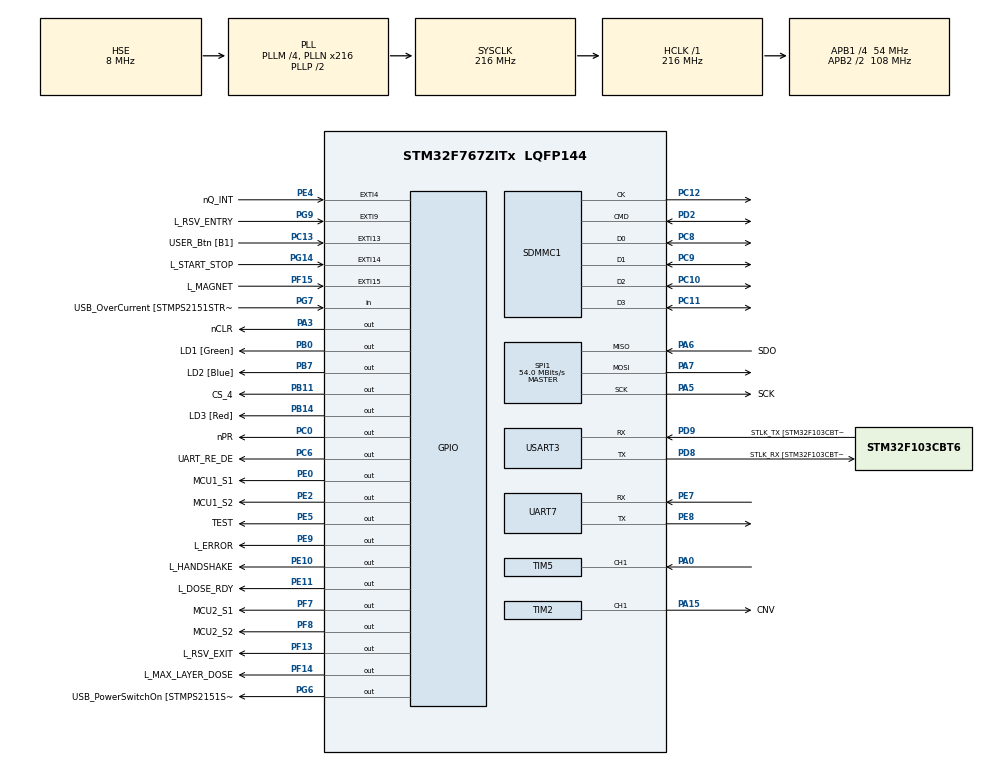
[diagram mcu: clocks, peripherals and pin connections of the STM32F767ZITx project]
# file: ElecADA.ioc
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Dma.Request0=UART7_TX
Dma.Request1=SDMMC1
Dma.SDMMC1.1.Direction=DMA_PERIPH_TO_MEMORY
Dma.SDMMC1.1.FIFOMode=DMA_FIFOMODE_ENABLE
Dma.SDMMC1.1.FIFOThreshold=DMA_FIFO_THRESHOLD_FULL
Dma.SDMMC1.1.Instance=DMA2_Stream3
Dma.SDMMC1.1.MemBurst=DMA_MBURST_INC4
Dma.SDMMC1.1.MemDataAlignment=DMA_MDATAALIGN_WORD
Dma.SDMMC1.1.MemInc=DMA_MINC_ENABLE
Dma.SDMMC1.1.Mode=DMA_PFCTRL
Dma.SDMMC1.1.PeriphBurst=DMA_PBURST_INC4
Dma.SDMMC1.1.PeriphDataAlignment=DMA_PDATAALIGN_WORD
Dma.SDMMC1.1.PeriphInc=DMA_PINC_DISABLE
Dma.SDMMC1.1.Priority=DMA_PRIORITY_LOW
Dma.UART7_TX.0.Direction=DMA_MEMORY_TO_PERIPH
Dma.UART7_TX.0.FIFOMode=DMA_FIFOMODE_DISABLE
Dma.UART7_TX.0.Instance=DMA1_Stream1
Dma.UART7_TX.0.MemDataAlignment=DMA_MDATAALIGN_BYTE
Dma.UART7_TX.0.MemInc=DMA_MINC_ENABLE
Dma.UART7_TX.0.Mode=DMA_NORMAL
Dma.UART7_TX.0.PeriphDataAlignment=DMA_PDATAALIGN_BYTE
Dma.UART7_TX.0.PeriphInc=DMA_PINC_DISABLE
Dma.UART7_TX.0.Priority=DMA_PRIORITY_LOW
FATFS.USE_DMA_CODE_SD=1
FATFS._MAX_SS=512
FATFS._USE_LFN=1
Mcu.Family=STM32F7
Mcu.Name=STM32F767ZITx
Mcu.Package=LQFP144
NVIC.DMA1_Stream1_IRQn=true\:2\:0\:true\:false\:true\:false\:true\:true
NVIC.DMA2_Stream3_IRQn=true\:5\:0\:true\:false\:true\:false\:true\:true
NVIC.EXTI15_10_IRQn=true\:1\:0\:true\:false\:true\:true\:true\:true
NVIC.EXTI4_IRQn=true\:0\:0\:false\:false\:true\:true\:true\:true
NVIC.PriorityGroup=NVIC_PRIORITYGROUP_4
NVIC.SDMMC1_IRQn=true\:0\:0\:true\:false\:true\:true\:true\:true
NVIC.TIM2_IRQn=true\:0\:0\:true\:false\:true\:true\:true\:true
NVIC.UART7_IRQn=true\:0\:0\:false\:false\:true\:true\:true\:true
NVIC.USART3_IRQn=true\:1\:0\:true\:false\:true\:true\:true\:true
PA0/WKUP.Signal=S_TIM5_CH1
PA13.GPIO_Label=TMS
PA13.Mode=Serial_Wire
PA13.Signal=SYS_JTMS-SWDIO
PA14.GPIO_Label=TCK
PA14.Mode=Serial_Wire
PA14.Signal=SYS_JTCK-SWCLK
PA15.GPIO_Label=CNV
PA15.Signal=S_TIM2_CH1_ETR
PA3.GPIO_Label=nCLR
PA3.PinState=GPIO_PIN_SET
PA3.Signal=GPIO_Output
PA5.GPIO_Label=SCK
PA5.GPIO_Speed=GPIO_SPEED_FREQ_HIGH
PA5.Mode=Full_Duplex_Master
PA5.Signal=SPI1_SCK
PA6.GPIO_Label=SDO
PA6.GPIO_PuPd=GPIO_NOPULL
PA6.GPIO_Speed=GPIO_SPEED_FREQ_HIGH
PA6.Mode=Full_Duplex_Master
PA6.Signal=SPI1_MISO
PA7.GPIO_PuPd=GPIO_NOPULL
PA7.GPIO_Speed=GPIO_SPEED_FREQ_HIGH
PA7.Mode=Full_Duplex_Master
PA7.Signal=SPI1_MOSI
PB0.GPIO_Label=LD1 [Green]
PB0.Signal=GPIO_Output
PB11.GPIO_Label=CS_4
PB11.Signal=GPIO_Output
PB14.GPIO_Label=LD3 [Red]
PB14.Signal=GPIO_Output
PB7.GPIO_Label=LD2 [Blue]
PB7.Signal=GPIO_Output
PC0.GPIO_Label=nPR
PC0.PinState=GPIO_PIN_SET
PC0.Signal=GPIO_Output
PC10.GPIO_PuPd=GPIO_PULLUP
PC10.GPIO_Speed_High_Default=GPIO_SPEED_FREQ_HIGH
PC10.Mode=SD_4_bits_Wide_bus
PC10.Signal=SDMMC1_D2
PC11.GPIO_PuPd=GPIO_PULLUP
PC11.GPIO_Speed_High_Default=GPIO_SPEED_FREQ_HIGH
PC11.Mode=SD_4_bits_Wide_bus
PC11.Signal=SDMMC1_D3
PC12.GPIO_PuPd=GPIO_NOPULL
PC12.GPIO_Speed_High_Default=GPIO_SPEED_FREQ_HIGH
PC12.Mode=SD_4_bits_Wide_bus
PC12.Signal=SDMMC1_CK
PC13.GPIO_Label=USER_Btn [B1]
PC13.Signal=GPXTI13
PC14/OSC32_IN.Signal=RCC_OSC32_IN
PC15/OSC32_OUT.Signal=RCC_OSC32_OUT
PC6.GPIO_Label=UART_RE_DE
PC6.Signal=GPIO_Output
PC8.GPIO_PuPd=GPIO_PULLUP
PC8.GPIO_Speed_High_Default=GPIO_SPEED_FREQ_HIGH
PC8.Mode=SD_4_bits_Wide_bus
PC8.Signal=SDMMC1_D0
PC9.GPIO_PuPd=GPIO_PULLUP
PC9.GPIO_Speed_High_Default=GPIO_SPEED_FREQ_HIGH
PC9.Mode=SD_4_bits_Wide_bus
PC9.Signal=SDMMC1_D1
PD2.GPIO_PuPd=GPIO_PULLUP
PD2.GPIO_Speed_High_Default=GPIO_SPEED_FREQ_HIGH
PD2.Mode=SD_4_bits_Wide_bus
PD2.Signal=SDMMC1_CMD
PD8.GPIO_Label=STLK_RX [STM32F103CBT6_PA3]
PD8.Mode=Asynchronous
PD8.Signal=USART3_TX
PD9.GPIO_Label=STLK_TX [STM32F103CBT6_PA2]
PD9.Mode=Asynchronous
PD9.Signal=USART3_RX
PE0.GPIO_Label=MCU1_S1
PE0.Signal=GPIO_Output
PE10.GPIO_Label=L_HANDSHAKE
PE10.Signal=GPIO_Output
PE11.GPIO_Label=L_DOSE_RDY
PE11.Signal=GPIO_Output
PE2.GPIO_Label=MCU1_S2
PE2.Signal=GPIO_Output
PE4.GPIO_Label=nQ_INT
PE4.GPIO_ModeDefaultEXTI=GPIO_MODE_IT_FALLING
PE4.Signal=GPXTI4
PE5.GPIO_Label=TEST
PE5.Signal=GPIO_Output
PE7.Mode=Asynchronous
PE7.Signal=UART7_RX
PE8.Mode=Asynchronous
PE8.Signal=UART7_TX
PE9.GPIO_Label=L_ERROR
PE9.Signal=GPIO_Output
PF13.GPIO_Label=L_RSV_EXIT
PF13.Signal=GPIO_Output
PF14.GPIO_Label=L_MAX_LAYER_DOSE
PF14.Signal=GPIO_Output
PF15.GPIO_Label=L_MAGNET
PF15.Signal=GPXTI15
PF7.GPIO_Label=MCU2_S1
PF7.Signal=GPIO_Output
PF8.GPIO_Label=MCU2_S2
PF8.Signal=GPIO_Output
PG14.GPIO_Label=L_START_STOP
PG14.Signal=GPXTI14
PG6.GPIO_Label=USB_PowerSwitchOn [STMPS2151STR_EN]
PG6.Signal=GPIO_Output
PG7.GPIO_Label=USB_OverCurrent [STMPS2151STR_FAULT]
PG7.Signal=GPIO_Input
PG9.GPIO_Label=L_RSV_ENTRY
PG9.Signal=GPXTI9
PH0/OSC_IN.GPIO_Label=MCO [STM32F103CBT6_PA8]
PH0/OSC_IN.Mode=HSE-External-Oscillator
PH0/OSC_IN.Signal=RCC_OSC_IN
PH1/OSC_OUT.Mode=HSE-External-Oscillator
PH1/OSC_OUT.Signal=RCC_OSC_OUT
ProjectManager.HeapSize=0x400
ProjectManager.StackSize=0x4000
ProjectManager.TargetToolchain=STM32CubeIDE
RCC.48MHZClocksFreq_Value=24000000
RCC.AHBFreq_Value=216000000
RCC.APB1CLKDivider=RCC_HCLK_DIV4
RCC.APB1Freq_Value=54000000
RCC.APB1TimFreq_Value=108000000
RCC.APB2CLKDivider=RCC_HCLK_DIV2
RCC.APB2Freq_Value=108000000
RCC.APB2TimFreq_Value=216000000
RCC.CortexFreq_Value=216000000
RCC.HCLKFreq_Value=216000000
RCC.HSE_VALUE=8000000
RCC.HSI_VALUE=16000000
RCC.LSE_VALUE=32768
RCC.PLLM=4
RCC.PLLMUL=RCC_PLL_MUL9
RCC.PLLN=216
RCC.PLLQ=9
RCC.PLLSourceVirtual=RCC_PLLSOURCE_HSE
RCC.PRESCALERUSB=RCC_USBCLKSOURCE_PLL_DIV1_5
RCC.RCC_MCO1Source=RCC_MCO1SOURCE_PLLCLK
RCC.SDMMCClockSelection=RCC_SDMMC1CLKSOURCE_CLK48
RCC.SYSCLKFreq_VALUE=216000000
RCC.SYSCLKSource=RCC_SYSCLKSOURCE_PLLCLK
RCC.SYSCLKSourceVirtual=RCC_SYSCLKSOURCE_PLLCLK
RCC.USBFreq_Value=48000000
RCC.VCOOutputFreq_Value=432000000
SDMMC1.ClockBypass=SDMMC_CLOCK_BYPASS_DISABLE
SDMMC1.ClockDiv=0
SDMMC1.ClockPowerSave=SDMMC_CLOCK_POWER_SAVE_DISABLE
SH.S_TIM2_CH1_ETR.0=TIM2_CH1,PWM Generation1 CH1
SH.S_TIM5_CH1.0=TIM5_CH1,TriggerSource_TI1ED
SPI1.BaudRatePrescaler=SPI_BAUDRATEPRESCALER_2
SPI1.CalculateBaudRate=54.0 MBits/s
SPI1.DataSize=SPI_DATASIZE_16BIT
SPI1.Direction=SPI_DIRECTION_2LINES
SPI1.Mode=SPI_MODE_MASTER
SPI1.NSSPMode=SPI_NSS_PULSE_DISABLE
SPI1.VirtualType=VM_MASTER
TIM2.AutoReloadPreload=TIM_AUTORELOAD_PRELOAD_DISABLE
TIM2.Channel-PWM\ Generation1\ CH1=TIM_CHANNEL_1
TIM2.Period=59
TIM2.Prescaler=107
TIM2.Pulse-PWM\ Generation1\ CH1=5
TIM2.TIM_MasterOutputTrigger=TIM_TRGO_RESET
TIM5.AutoReloadPreload=TIM_AUTORELOAD_PRELOAD_ENABLE
TIM5.TIM_MasterOutputTrigger=TIM_TRGO_UPDATE
USART3.VirtualMode-Asynchronous=VM_ASYNC
VP_FATFS_VS_SDIO.Mode=SDIO
VP_TIM2_VS_ClockSourceINT.Mode=Internal
VP_TIM5_VS_ControllerModeClock.Mode=Clock Mode
VP_TIM8_VS_ClockSourceITR.Mode=TriggerSource_ITR3
VP_TIM8_VS_ControllerModeClock.Mode=Clock Mode
board=NUCLEO-F767ZI

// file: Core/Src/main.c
/* USER CODE BEGIN Header */
/**
 ******************************************************************************
 * @file           : main.c
 * @brief          : Main program body
 ******************************************************************************
 * @attention
 *
 * Copyright (c) 2025 STMicroelectronics.
 * All rights reserved.
 *
 * This software is licensed under terms that can be found in the LICENSE file
 * in the root directory of this software component.
 * If no LICENSE file comes with this software, it is provided AS-IS.
 *
 ******************************************************************************
 */
/* USER CODE END Header */
#include "main.h"
#include "fatfs.h"

/* USER CODE BEGIN Includes */
#include "common.h"
#define UTILS_IMPLEMENTATION
#include "utils.h"
#include "ElecADA.h"
#include "USART_cmd.h"
#include "uSD.h"
#include "delay_micros.h"

//#include <stm32f7xx_hal_sd.h>
/* USER CODE END Includes */

/* USER CODE BEGIN PD */
#define USB_BUFFLEN 500
/* USER CODE END PD */

SD_HandleTypeDef hsd1;
DMA_HandleTypeDef hdma_sdmmc1;

SPI_HandleTypeDef hspi1;

TIM_HandleTypeDef htim2;
TIM_HandleTypeDef htim5;
TIM_HandleTypeDef htim8;

UART_HandleTypeDef huart7;
UART_HandleTypeDef huart3;
DMA_HandleTypeDef hdma_uart7_tx;

/* USER CODE BEGIN PV */
extern char str[100];
extern void string_parse();
extern State_t st;
extern SystemFlags_t sf;

HAL_StatusTypeDef SD_Switch_To_4bit(SD_HandleTypeDef *hsd);
/* USER CODE END PV */

void SystemClock_Config(void);
static void MX_GPIO_Init(void);
static void MX_DMA_Init(void);
static void MX_USART3_UART_Init(void);
static void MX_SPI1_Init(void);
static void MX_TIM2_Init(void);
static void MX_UART7_Init(void);
static void MX_SDMMC1_SD_Init(void);
static void MX_TIM8_Init(void);
static void MX_TIM5_Init(void);
/* USER CODE BEGIN PFP */
void Reset_SPI_DMA();
/* USER CODE END PFP */

int main(void)
{

  /* MCU Configuration--------------------------------------------------------*/

  /* Reset of all peripherals, Initializes the Flash interface and the Systick. */
  HAL_Init();

  /* Configure the system clock */
  SystemClock_Config();

  /* Initialize all configured peripherals */
  MX_GPIO_Init();
  MX_DMA_Init();
  MX_USART3_UART_Init();
  MX_SPI1_Init();
  MX_TIM2_Init();
  MX_UART7_Init();
  MX_SDMMC1_SD_Init();
  MX_TIM8_Init();
  MX_TIM5_Init();
  MX_FATFS_Init();
  /* USER CODE BEGIN 2 */
	USART_net_init(&pc_uart);
	USART_set_parse_func(string_parse);
	HAL_UART_Receive_IT(&pc_uart, (uint8_t*) str, 1);
	DWT_Init();

	HAL_GPIO_WritePin(LD1_GPIO_Port, LD1_Pin, SET);
	HAL_GPIO_WritePin(LD2_GPIO_Port, LD2_Pin, SET);
	HAL_Delay(500);

	HAL_GPIO_WritePin(LD1_GPIO_Port, LD1_Pin, RESET);
	HAL_GPIO_WritePin(LD2_GPIO_Port, LD2_Pin, RESET);

	printf("[INFO] START F7\n");

	FRESULT fr = Mount_SD_Card();
	if (fr != FR_OK) {
		printf("[WARN] SD card not available, continuing without SD\n");
		sd_manager.is_ready = false;
	}

  /* USER CODE END 2 */

  /* Infinite loop */
  /* USER CODE BEGIN WHILE */
	Start_ADC();
	/* Infinite loop */
	/* USER CODE BEGIN WHILE */
	while (1) {
    /* USER CODE END WHILE */

    /* USER CODE BEGIN 3 */

		if (sf.adc_ready) {
			sf.adc_ready = false;
			Read_ADC();
			HAL_GPIO_WritePin(L_RSV_EXIT_GPIO_Port, L_RSV_EXIT_Pin, RESET);
		}
	}
  /* USER CODE END 3 */
}

void SystemClock_Config(void)
{
  RCC_OscInitTypeDef RCC_OscInitStruct = {0};
  RCC_ClkInitTypeDef RCC_ClkInitStruct = {0};

  /** Configure the main internal regulator output voltage
  */
  __HAL_RCC_PWR_CLK_ENABLE();
  __HAL_PWR_VOLTAGESCALING_CONFIG(PWR_REGULATOR_VOLTAGE_SCALE1);

  /** Initializes the RCC Oscillators according to the specified parameters
  * in the RCC_OscInitTypeDef structure.
  */
  RCC_OscInitStruct.OscillatorType = RCC_OSCILLATORTYPE_HSE;
  RCC_OscInitStruct.HSEState = RCC_HSE_ON;
  RCC_OscInitStruct.PLL.PLLState = RCC_PLL_ON;
  RCC_OscInitStruct.PLL.PLLSource = RCC_PLLSOURCE_HSE;
  RCC_OscInitStruct.PLL.PLLM = 4;
  RCC_OscInitStruct.PLL.PLLN = 216;
  RCC_OscInitStruct.PLL.PLLP = RCC_PLLP_DIV2;
  RCC_OscInitStruct.PLL.PLLQ = 9;
  RCC_OscInitStruct.PLL.PLLR = 2;
  if (HAL_RCC_OscConfig(&RCC_OscInitStruct) != HAL_OK)
  {
    Error_Handler();
  }

  /** Activate the Over-Drive mode
  */
  if (HAL_PWREx_EnableOverDrive() != HAL_OK)
  {
    Error_Handler();
  }

  /** Initializes the CPU, AHB and APB buses clocks
  */
  RCC_ClkInitStruct.ClockType = RCC_CLOCKTYPE_HCLK|RCC_CLOCKTYPE_SYSCLK
                              |RCC_CLOCKTYPE_PCLK1|RCC_CLOCKTYPE_PCLK2;
  RCC_ClkInitStruct.SYSCLKSource = RCC_SYSCLKSOURCE_PLLCLK;
  RCC_ClkInitStruct.AHBCLKDivider = RCC_SYSCLK_DIV1;
  RCC_ClkInitStruct.APB1CLKDivider = RCC_HCLK_DIV4;
  RCC_ClkInitStruct.APB2CLKDivider = RCC_HCLK_DIV2;

  if (HAL_RCC_ClockConfig(&RCC_ClkInitStruct, FLASH_LATENCY_7) != HAL_OK)
  {
    Error_Handler();
  }
}

static void MX_SDMMC1_SD_Init(void)
{

  hsd1.Instance = SDMMC1;
  hsd1.Init.ClockEdge = SDMMC_CLOCK_EDGE_RISING;
  hsd1.Init.ClockBypass = SDMMC_CLOCK_BYPASS_DISABLE;
  hsd1.Init.ClockPowerSave = SDMMC_CLOCK_POWER_SAVE_DISABLE;
  hsd1.Init.BusWide = SDMMC_BUS_WIDE_1B;
  hsd1.Init.HardwareFlowControl = SDMMC_HARDWARE_FLOW_CONTROL_DISABLE;
  hsd1.Init.ClockDiv = 0;
  /* USER CODE BEGIN SDMMC1_Init 2 */
//  HAL_SD_Init(&sd_card);
//  HAL_Delay(10);
//
//  if (HAL_SD_ConfigWideBusOperation(&sd_card, SDMMC_BUS_WIDE_4B) != HAL_OK)
//  {
//      Error_Handler();
//  }
  /* USER CODE END SDMMC1_Init 2 */

}

static void MX_SPI1_Init(void)
{

  /* SPI1 parameter configuration*/
  hspi1.Instance = SPI1;
  hspi1.Init.Mode = SPI_MODE_MASTER;
  hspi1.Init.Direction = SPI_DIRECTION_2LINES;
  hspi1.Init.DataSize = SPI_DATASIZE_16BIT;
  hspi1.Init.CLKPolarity = SPI_POLARITY_LOW;
  hspi1.Init.CLKPhase = SPI_PHASE_1EDGE;
  hspi1.Init.NSS = SPI_NSS_SOFT;
  hspi1.Init.BaudRatePrescaler = SPI_BAUDRATEPRESCALER_2;
  hspi1.Init.FirstBit = SPI_FIRSTBIT_MSB;
  hspi1.Init.TIMode = SPI_TIMODE_DISABLE;
  hspi1.Init.CRCCalculation = SPI_CRCCALCULATION_DISABLE;
  hspi1.Init.CRCPolynomial = 7;
  hspi1.Init.CRCLength = SPI_CRC_LENGTH_DATASIZE;
  hspi1.Init.NSSPMode = SPI_NSS_PULSE_DISABLE;
  if (HAL_SPI_Init(&hspi1) != HAL_OK)
  {
    Error_Handler();
  }

}

static void MX_TIM2_Init(void)
{

  TIM_ClockConfigTypeDef sClockSourceConfig = {0};
  TIM_MasterConfigTypeDef sMasterConfig = {0};
  TIM_OC_InitTypeDef sConfigOC = {0};

  htim2.Instance = TIM2;
  htim2.Init.Prescaler = 107;
  htim2.Init.CounterMode = TIM_COUNTERMODE_UP;
  htim2.Init.Period = 59;
  htim2.Init.ClockDivision = TIM_CLOCKDIVISION_DIV1;
  htim2.Init.AutoReloadPreload = TIM_AUTORELOAD_PRELOAD_DISABLE;
  if (HAL_TIM_Base_Init(&htim2) != HAL_OK)
  {
    Error_Handler();
  }
  sClockSourceConfig.ClockSource = TIM_CLOCKSOURCE_INTERNAL;
  if (HAL_TIM_ConfigClockSource(&htim2, &sClockSourceConfig) != HAL_OK)
  {
    Error_Handler();
  }
  if (HAL_TIM_PWM_Init(&htim2) != HAL_OK)
  {
    Error_Handler();
  }
  sMasterConfig.MasterOutputTrigger = TIM_TRGO_RESET;
  sMasterConfig.MasterSlaveMode = TIM_MASTERSLAVEMODE_DISABLE;
  if (HAL_TIMEx_MasterConfigSynchronization(&htim2, &sMasterConfig) != HAL_OK)
  {
    Error_Handler();
  }
  sConfigOC.OCMode = TIM_OCMODE_PWM1;
  sConfigOC.Pulse = 5;
  sConfigOC.OCPolarity = TIM_OCPOLARITY_HIGH;
  sConfigOC.OCFastMode = TIM_OCFAST_DISABLE;
  if (HAL_TIM_PWM_ConfigChannel(&htim2, &sConfigOC, TIM_CHANNEL_1) != HAL_OK)
  {
    Error_Handler();
  }
  HAL_TIM_MspPostInit(&htim2);

}

static void MX_TIM5_Init(void)
{

  TIM_SlaveConfigTypeDef sSlaveConfig = {0};
  TIM_MasterConfigTypeDef sMasterConfig = {0};

  htim5.Instance = TIM5;
  htim5.Init.Prescaler = 0;
  htim5.Init.CounterMode = TIM_COUNTERMODE_UP;
  htim5.Init.Period = 4294967295;
  htim5.Init.ClockDivision = TIM_CLOCKDIVISION_DIV1;
  htim5.Init.AutoReloadPreload = TIM_AUTORELOAD_PRELOAD_ENABLE;
  if (HAL_TIM_Base_Init(&htim5) != HAL_OK)
  {
    Error_Handler();
  }
  sSlaveConfig.SlaveMode = TIM_SLAVEMODE_EXTERNAL1;
  sSlaveConfig.InputTrigger = TIM_TS_TI1F_ED;
  sSlaveConfig.TriggerFilter = 0;
  if (HAL_TIM_SlaveConfigSynchro(&htim5, &sSlaveConfig) != HAL_OK)
  {
    Error_Handler();
  }
  sMasterConfig.MasterOutputTrigger = TIM_TRGO_UPDATE;
  sMasterConfig.MasterSlaveMode = TIM_MASTERSLAVEMODE_DISABLE;
  if (HAL_TIMEx_MasterConfigSynchronization(&htim5, &sMasterConfig) != HAL_OK)
  {
    Error_Handler();
  }

}

static void MX_TIM8_Init(void)
{

  TIM_SlaveConfigTypeDef sSlaveConfig = {0};
  TIM_MasterConfigTypeDef sMasterConfig = {0};

  htim8.Instance = TIM8;
  htim8.Init.Prescaler = 0;
  htim8.Init.CounterMode = TIM_COUNTERMODE_UP;
  htim8.Init.Period = 65535;
  htim8.Init.ClockDivision = TIM_CLOCKDIVISION_DIV1;
  htim8.Init.RepetitionCounter = 0;
  htim8.Init.AutoReloadPreload = TIM_AUTORELOAD_PRELOAD_DISABLE;
  if (HAL_TIM_Base_Init(&htim8) != HAL_OK)
  {
    Error_Handler();
  }
  sSlaveConfig.SlaveMode = TIM_SLAVEMODE_EXTERNAL1;
  sSlaveConfig.InputTrigger = TIM_TS_ITR3;
  if (HAL_TIM_SlaveConfigSynchro(&htim8, &sSlaveConfig) != HAL_OK)
  {
    Error_Handler();
  }
  sMasterConfig.MasterOutputTrigger = TIM_TRGO_RESET;
  sMasterConfig.MasterOutputTrigger2 = TIM_TRGO2_RESET;
  sMasterConfig.MasterSlaveMode = TIM_MASTERSLAVEMODE_DISABLE;
  if (HAL_TIMEx_MasterConfigSynchronization(&htim8, &sMasterConfig) != HAL_OK)
  {
    Error_Handler();
  }

}

static void MX_UART7_Init(void)
{

  huart7.Instance = UART7;
  huart7.Init.BaudRate = 115200;
  huart7.Init.WordLength = UART_WORDLENGTH_8B;
  huart7.Init.StopBits = UART_STOPBITS_1;
  huart7.Init.Parity = UART_PARITY_NONE;
  huart7.Init.Mode = UART_MODE_TX_RX;
  huart7.Init.HwFlowCtl = UART_HWCONTROL_NONE;
  huart7.Init.OverSampling = UART_OVERSAMPLING_16;
  huart7.Init.OneBitSampling = UART_ONE_BIT_SAMPLE_DISABLE;
  huart7.AdvancedInit.AdvFeatureInit = UART_ADVFEATURE_NO_INIT;
  if (HAL_UART_Init(&huart7) != HAL_OK)
  {
    Error_Handler();
  }

}

static void MX_USART3_UART_Init(void)
{

  huart3.Instance = USART3;
  huart3.Init.BaudRate = 115200;
  huart3.Init.WordLength = UART_WORDLENGTH_8B;
  huart3.Init.StopBits = UART_STOPBITS_1;
  huart3.Init.Parity = UART_PARITY_NONE;
  huart3.Init.Mode = UART_MODE_TX_RX;
  huart3.Init.HwFlowCtl = UART_HWCONTROL_NONE;
  huart3.Init.OverSampling = UART_OVERSAMPLING_16;
  huart3.Init.OneBitSampling = UART_ONE_BIT_SAMPLE_DISABLE;
  huart3.AdvancedInit.AdvFeatureInit = UART_ADVFEATURE_NO_INIT;
  if (HAL_UART_Init(&huart3) != HAL_OK)
  {
    Error_Handler();
  }

}

static void MX_DMA_Init(void)
{

  /* DMA controller clock enable */
  __HAL_RCC_DMA1_CLK_ENABLE();
  __HAL_RCC_DMA2_CLK_ENABLE();

  /* DMA interrupt init */
  /* DMA1_Stream1_IRQn interrupt configuration */
  HAL_NVIC_SetPriority(DMA1_Stream1_IRQn, 2, 0);
  HAL_NVIC_EnableIRQ(DMA1_Stream1_IRQn);
  /* DMA2_Stream3_IRQn interrupt configuration */
  HAL_NVIC_SetPriority(DMA2_Stream3_IRQn, 5, 0);
  HAL_NVIC_EnableIRQ(DMA2_Stream3_IRQn);

}

static void MX_GPIO_Init(void)
{
  GPIO_InitTypeDef GPIO_InitStruct = {0};

  /* GPIO Ports Clock Enable */
  __HAL_RCC_GPIOE_CLK_ENABLE();
  __HAL_RCC_GPIOC_CLK_ENABLE();
  __HAL_RCC_GPIOF_CLK_ENABLE();
  __HAL_RCC_GPIOH_CLK_ENABLE();
  __HAL_RCC_GPIOA_CLK_ENABLE();
  __HAL_RCC_GPIOB_CLK_ENABLE();
  __HAL_RCC_GPIOG_CLK_ENABLE();
  __HAL_RCC_GPIOD_CLK_ENABLE();

  /*Configure GPIO pin Output Level */
  HAL_GPIO_WritePin(GPIOE, MCU1_S2_Pin|TEST_Pin|L_ERROR_Pin|L_HANDSHAKE_Pin
                          |L_DOSE_RDY_Pin|MCU1_S1_Pin, GPIO_PIN_RESET);

  /*Configure GPIO pin Output Level */
  HAL_GPIO_WritePin(GPIOF, MCU2_S1_Pin|MCU2_S2_Pin|L_RSV_EXIT_Pin|L_MAX_LAYER_DOSE_Pin, GPIO_PIN_RESET);

  /*Configure GPIO pin Output Level */
  HAL_GPIO_WritePin(nPR_GPIO_Port, nPR_Pin, GPIO_PIN_SET);

  /*Configure GPIO pin Output Level */
  HAL_GPIO_WritePin(nCLR_GPIO_Port, nCLR_Pin, GPIO_PIN_SET);

  /*Configure GPIO pin Output Level */
  HAL_GPIO_WritePin(GPIOB, LD1_Pin|CS_4_Pin|LD3_Pin|LD2_Pin, GPIO_PIN_RESET);

  /*Configure GPIO pin Output Level */
  HAL_GPIO_WritePin(USB_PowerSwitchOn_GPIO_Port, USB_PowerSwitchOn_Pin, GPIO_PIN_RESET);

  /*Configure GPIO pin Output Level */
  HAL_GPIO_WritePin(UART_RE_DE_GPIO_Port, UART_RE_DE_Pin, GPIO_PIN_RESET);

  /*Configure GPIO pins : MCU1_S2_Pin TEST_Pin L_ERROR_Pin L_HANDSHAKE_Pin
                           L_DOSE_RDY_Pin MCU1_S1_Pin */
  GPIO_InitStruct.Pin = MCU1_S2_Pin|TEST_Pin|L_ERROR_Pin|L_HANDSHAKE_Pin
                          |L_DOSE_RDY_Pin|MCU1_S1_Pin;
  GPIO_InitStruct.Mode = GPIO_MODE_OUTPUT_PP;
  GPIO_InitStruct.Pull = GPIO_NOPULL;
  GPIO_InitStruct.Speed = GPIO_SPEED_FREQ_LOW;
  HAL_GPIO_Init(GPIOE, &GPIO_InitStruct);

  /*Configure GPIO pins : PE3 PE6 PE12 PE13
                           PE14 PE15 PE1 */
  GPIO_InitStruct.Pin = GPIO_PIN_3|GPIO_PIN_6|GPIO_PIN_12|GPIO_PIN_13
                          |GPIO_PIN_14|GPIO_PIN_15|GPIO_PIN_1;
  GPIO_InitStruct.Mode = GPIO_MODE_ANALOG;
  GPIO_InitStruct.Pull = GPIO_NOPULL;
  HAL_GPIO_Init(GPIOE, &GPIO_InitStruct);

  /*Configure GPIO pin : nQ_INT_Pin */
  GPIO_InitStruct.Pin = nQ_INT_Pin;
  GPIO_InitStruct.Mode = GPIO_MODE_IT_FALLING;
  GPIO_InitStruct.Pull = GPIO_NOPULL;
  HAL_GPIO_Init(nQ_INT_GPIO_Port, &GPIO_InitStruct);

  /*Configure GPIO pin : USER_Btn_Pin */
  GPIO_InitStruct.Pin = USER_Btn_Pin;
  GPIO_InitStruct.Mode = GPIO_MODE_IT_RISING;
  GPIO_InitStruct.Pull = GPIO_NOPULL;
  HAL_GPIO_Init(USER_Btn_GPIO_Port, &GPIO_InitStruct);

  /*Configure GPIO pins : PF0 PF1 PF2 PF3
                           PF4 PF5 PF6 PF9
                           PF10 PF11 PF12 */
  GPIO_InitStruct.Pin = GPIO_PIN_0|GPIO_PIN_1|GPIO_PIN_2|GPIO_PIN_3
                          |GPIO_PIN_4|GPIO_PIN_5|GPIO_PIN_6|GPIO_PIN_9
                          |GPIO_PIN_10|GPIO_PIN_11|GPIO_PIN_12;
  GPIO_InitStruct.Mode = GPIO_MODE_ANALOG;
  GPIO_InitStruct.Pull = GPIO_NOPULL;
  HAL_GPIO_Init(GPIOF, &GPIO_InitStruct);

  /*Configure GPIO pins : MCU2_S1_Pin MCU2_S2_Pin L_RSV_EXIT_Pin L_MAX_LAYER_DOSE_Pin */
  GPIO_InitStruct.Pin = MCU2_S1_Pin|MCU2_S2_Pin|L_RSV_EXIT_Pin|L_MAX_LAYER_DOSE_Pin;
  GPIO_InitStruct.Mode = GPIO_MODE_OUTPUT_PP;
  GPIO_InitStruct.Pull = GPIO_NOPULL;
  GPIO_InitStruct.Speed = GPIO_SPEED_FREQ_LOW;
  HAL_GPIO_Init(GPIOF, &GPIO_InitStruct);

  /*Configure GPIO pins : nPR_Pin UART_RE_DE_Pin */
  GPIO_InitStruct.Pin = nPR_Pin|UART_RE_DE_Pin;
  GPIO_InitStruct.Mode = GPIO_MODE_OUTPUT_PP;
  GPIO_InitStruct.Pull = GPIO_NOPULL;
  GPIO_InitStruct.Speed = GPIO_SPEED_FREQ_LOW;
  HAL_GPIO_Init(GPIOC, &GPIO_InitStruct);

  /*Configure GPIO pins : PC1 PC2 PC3 PC4
                           PC5 PC7 */
  GPIO_InitStruct.Pin = GPIO_PIN_1|GPIO_PIN_2|GPIO_PIN_3|GPIO_PIN_4
                          |GPIO_PIN_5|GPIO_PIN_7;
  GPIO_InitStruct.Mode = GPIO_MODE_ANALOG;
  GPIO_InitStruct.Pull = GPIO_NOPULL;
  HAL_GPIO_Init(GPIOC, &GPIO_InitStruct);

  /*Configure GPIO pins : PA1 PA2 PA4 PA8
                           PA9 PA10 PA11 PA12 */
  GPIO_InitStruct.Pin = GPIO_PIN_1|GPIO_PIN_2|GPIO_PIN_4|GPIO_PIN_8
                          |GPIO_PIN_9|GPIO_PIN_10|GPIO_PIN_11|GPIO_PIN_12;
  GPIO_InitStruct.Mode = GPIO_MODE_ANALOG;
  GPIO_InitStruct.Pull = GPIO_NOPULL;
  HAL_GPIO_Init(GPIOA, &GPIO_InitStruct);

  /*Configure GPIO pin : nCLR_Pin */
  GPIO_InitStruct.Pin = nCLR_Pin;
  GPIO_InitStruct.Mode = GPIO_MODE_OUTPUT_PP;
  GPIO_InitStruct.Pull = GPIO_NOPULL;
  GPIO_InitStruct.Speed = GPIO_SPEED_FREQ_LOW;
  HAL_GPIO_Init(nCLR_GPIO_Port, &GPIO_InitStruct);

  /*Configure GPIO pins : LD1_Pin CS_4_Pin LD3_Pin LD2_Pin */
  GPIO_InitStruct.Pin = LD1_Pin|CS_4_Pin|LD3_Pin|LD2_Pin;
  GPIO_InitStruct.Mode = GPIO_MODE_OUTPUT_PP;
  GPIO_InitStruct.Pull = GPIO_NOPULL;
  GPIO_InitStruct.Speed = GPIO_SPEED_FREQ_LOW;
  HAL_GPIO_Init(GPIOB, &GPIO_InitStruct);

  /*Configure GPIO pins : PB1 PB2 PB10 PB12
                           PB13 PB15 PB3 PB4
                           PB5 PB6 PB8 PB9 */
  GPIO_InitStruct.Pin = GPIO_PIN_1|GPIO_PIN_2|GPIO_PIN_10|GPIO_PIN_12
                          |GPIO_PIN_13|GPIO_PIN_15|GPIO_PIN_3|GPIO_PIN_4
                          |GPIO_PIN_5|GPIO_PIN_6|GPIO_PIN_8|GPIO_PIN_9;
  GPIO_InitStruct.Mode = GPIO_MODE_ANALOG;
  GPIO_InitStruct.Pull = GPIO_NOPULL;
  HAL_GPIO_Init(GPIOB, &GPIO_InitStruct);

  /*Configure GPIO pin : L_MAGNET_Pin */
  GPIO_InitStruct.Pin = L_MAGNET_Pin;
  GPIO_InitStruct.Mode = GPIO_MODE_IT_RISING;
  GPIO_InitStruct.Pull = GPIO_NOPULL;
  HAL_GPIO_Init(L_MAGNET_GPIO_Port, &GPIO_InitStruct);

  /*Configure GPIO pins : PG0 PG1 PG2 PG3
                           PG4 PG5 PG8 PG10
                           PG11 PG12 PG13 PG15 */
  GPIO_InitStruct.Pin = GPIO_PIN_0|GPIO_PIN_1|GPIO_PIN_2|GPIO_PIN_3
                          |GPIO_PIN_4|GPIO_PIN_5|GPIO_PIN_8|GPIO_PIN_10
                          |GPIO_PIN_11|GPIO_PIN_12|GPIO_PIN_13|GPIO_PIN_15;
  GPIO_InitStruct.Mode = GPIO_MODE_ANALOG;
  GPIO_InitStruct.Pull = GPIO_NOPULL;
  HAL_GPIO_Init(GPIOG, &GPIO_InitStruct);

  /*Configure GPIO pins : PD10 PD11 PD12 PD13
                           PD14 PD15 PD0 PD1
                           PD3 PD4 PD5 PD6
                           PD7 */
  GPIO_InitStruct.Pin = GPIO_PIN_10|GPIO_PIN_11|GPIO_PIN_12|GPIO_PIN_13
                          |GPIO_PIN_14|GPIO_PIN_15|GPIO_PIN_0|GPIO_PIN_1
                          |GPIO_PIN_3|GPIO_PIN_4|GPIO_PIN_5|GPIO_PIN_6
                          |GPIO_PIN_7;
  GPIO_InitStruct.Mode = GPIO_MODE_ANALOG;
  GPIO_InitStruct.Pull = GPIO_NOPULL;
  HAL_GPIO_Init(GPIOD, &GPIO_InitStruct);

  /*Configure GPIO pin : USB_PowerSwitchOn_Pin */
  GPIO_InitStruct.Pin = USB_PowerSwitchOn_Pin;
  GPIO_InitStruct.Mode = GPIO_MODE_OUTPUT_PP;
  GPIO_InitStruct.Pull = GPIO_NOPULL;
  GPIO_InitStruct.Speed = GPIO_SPEED_FREQ_LOW;
  HAL_GPIO_Init(USB_PowerSwitchOn_GPIO_Port, &GPIO_InitStruct);

  /*Configure GPIO pin : USB_OverCurrent_Pin */
  GPIO_InitStruct.Pin = USB_OverCurrent_Pin;
  GPIO_InitStruct.Mode = GPIO_MODE_INPUT;
  GPIO_InitStruct.Pull = GPIO_NOPULL;
  HAL_GPIO_Init(USB_OverCurrent_GPIO_Port, &GPIO_InitStruct);

  /*Configure GPIO pins : L_RSV_ENTRY_Pin L_START_STOP_Pin */
  GPIO_InitStruct.Pin = L_RSV_ENTRY_Pin|L_START_STOP_Pin;
  GPIO_InitStruct.Mode = GPIO_MODE_IT_RISING;
  GPIO_InitStruct.Pull = GPIO_NOPULL;
  HAL_GPIO_Init(GPIOG, &GPIO_InitStruct);

  /* EXTI interrupt init*/
  HAL_NVIC_SetPriority(EXTI4_IRQn, 0, 0);
  HAL_NVIC_EnableIRQ(EXTI4_IRQn);

  HAL_NVIC_SetPriority(EXTI15_10_IRQn, 1, 0);
  HAL_NVIC_EnableIRQ(EXTI15_10_IRQn);

/* USER CODE BEGIN MX_GPIO_Init_2 */
	HAL_NVIC_DisableIRQ(nQ_IRQ);
/* USER CODE END MX_GPIO_Init_2 */
}

/* USER CODE BEGIN 4 */
int _write(int file, char *ptr, int len) {
	(void) file;
	if (file == 1) {
		//HAL_UART_Transmit(&out_uart,(uint8_t*)ptr,len,HAL_MAX_DELAY);
		print_UART(pc_uart, (uint8_t*) ptr, len);
		//HAL_UART_Transmit(&pc_uart,(uint8_t*)ptr,len,HAL_MAX_DELAY);
		//HAL_UART_Transmit_DMA(&out_uart,(uint8_t*)ptr,len);
	}
	return len;
}

//void HAL_SD_TxCpltCallback(SD_HandleTypeDef *hsd)
////void BSP_SD_WriteCpltCallback(void)
//{
//	/* Prevent unused argument(s) compilation warning */
//	stop = DWT->CYCCNT;
//	printf("Write SD is ok. Time is %u us\n", abs((stop - start)/(SystemCoreClock / 1000000U)));
//
//	/* NOTE : This function should not be modified, when the callback is needed,
//            the HAL_SD_TxCpltCallback can be implemented in the user file
//	 */
//}
//
//void HAL_SD_RxCpltCallback(SD_HandleTypeDef *hsd)
////void BSP_SD_WriteCpltCallback(void)
//{
//	/* Prevent unused argument(s) compilation warning */
//	stop = DWT->CYCCNT;
//	printf("Read SD is ok. Time is %u us\n", abs((stop - start)/(SystemCoreClock / 1000000U)));
//
//	/* NOTE : This function should not be modified, when the callback is needed,
//            the HAL_SD_TxCpltCallback can be implemented in the user file
//	 */
//}

void HAL_UART_TxCpltCallback(UART_HandleTypeDef *huart) {
	if (huart == &out_uart) {
		sf.uart_lock = false;
	}
	if (huart == &pc_uart) {
		sf.uart_lock = false;
		HAL_GPIO_WritePin(UART_RE_DE_GPIO_Port, UART_RE_DE_Pin, RESET);

		if (dt.current_index >= dt.table_size) {
			Stop_Pulse_cnt();
		}
	}
}

void HAL_UART_RxCpltCallback(UART_HandleTypeDef *huart) {
	if (huart == &out_uart) {
		USART_cmd_RxCpltCallback();
	}
	if (huart == &pc_uart) {
		USART_cmd_RxCpltCallback();
	}
}

void HAL_SPI_TxRxCpltCallback(SPI_HandleTypeDef *hspi) {
	if (hspi == &adc_spi) {
	}
}

void HAL_UART_ErrorCallback(UART_HandleTypeDef *huart) {
	if (huart == &out_uart) {
		sf.uart_lock = false;
		// Опционально: логируем ошибку
	}
	if (huart == &pc_uart) {
		sf.uart_lock = false;
		// Опционально: логируем ошибку
	}
}

void HAL_TIM_PWM_PulseFinishedCallback(TIM_HandleTypeDef *htim) {
	if (htim == &adc_timer) {
		sf.adc_ready = true;
		HAL_GPIO_WritePin(L_RSV_EXIT_GPIO_Port, L_RSV_EXIT_Pin, SET);

	}
}

void HAL_TIM_PeriodElapsedCallback(TIM_HandleTypeDef *htim) {
	if (htim == &pulse_cnt) {
	}

	if (htim == &adc_timer) {

	}
}

void HAL_GPIO_EXTI_Callback(uint16_t GPIO_Pin) {
	if (GPIO_Pin == nQ_INT_Pin && sf.pulse_run == true) {
		HAL_NVIC_DisableIRQ(nQ_IRQ);
		Start_Pulse_cnt();
	}
	if (GPIO_Pin == L_MAGNET_Pin) {
		On_Magnet_Arrived();
	}

}

void HAL_SPI_ErrorCallback(SPI_HandleTypeDef *hspi) {
	if (hspi == &adc_spi) {
		while (1) {
			HAL_GPIO_TogglePin(LD3_GPIO_Port, LD3_Pin);
			printf("SPI ERROR\n");
			HAL_Delay(1000);

		}
	}
}

HAL_StatusTypeDef HAL_SD_InitCard_FIX(SD_HandleTypeDef *hsd) {
	HAL_StatusTypeDef status;
	SD_InitTypeDef Init;

	Init.ClockEdge = SDMMC_CLOCK_EDGE_RISING;
	Init.ClockBypass = SDMMC_CLOCK_BYPASS_DISABLE;
	Init.ClockPowerSave = SDMMC_CLOCK_POWER_SAVE_DISABLE;
	Init.BusWide = SDMMC_BUS_WIDE_1B;
	Init.HardwareFlowControl = SDMMC_HARDWARE_FLOW_CONTROL_DISABLE;
	Init.ClockDiv = SDMMC_INIT_CLK_DIV;

	status = SDMMC_Init(hsd->Instance, Init);
	if (status != HAL_OK) {
		return HAL_ERROR;
	}

	return HAL_OK;
}
// Функция ручного переключения на 4 бита
/*
 * @brief  Ручное переключение SD-карты в 4-битный режим с проверками
 * @param  hsd: Указатель на SD handle
 * @retval HAL статус
 */
HAL_StatusTypeDef SD_Switch_To_4bit(SD_HandleTypeDef *hsd) {
	HAL_StatusTypeDef status;

	if (hsd == NULL) {
		return HAL_ERROR;
	}

	/* Проверяем состояние карты - должна быть инициализирована в 1-битном режиме */
	if (hsd->State != HAL_SD_STATE_READY) {
		return HAL_BUSY;
	}

	/* Проверяем, что карта поддерживает 4-битный режим */
	/* Для SD-карт (не MMC) */
	if (hsd->SdCard.CardType != CARD_SECURED) {
		/* �?спользуем стандартную HAL функцию для включения широкой шины */
		status = HAL_SD_ConfigWideBusOperation(hsd, SDMMC_BUS_WIDE_4B);

		if (status != HAL_OK) {
			/* Если не удалось, возвращаем ошибку */
			hsd->ErrorCode |= HAL_SD_ERROR_UNSUPPORTED_FEATURE;
			return HAL_ERROR;
		}
	} else {
		/* Secured карты не поддерживают широкую шину */
		hsd->ErrorCode |= HAL_SD_ERROR_UNSUPPORTED_FEATURE;
		return HAL_ERROR;
	}

	return HAL_OK;
}
//
//static void SDIO_SDCard_Test(void)
//{
////  FATFS FatFs;
////  FIL Fil;
////  FRESULT FR_Status;
////  FATFS *FS_Ptr;
////  UINT RWC, WWC; // Read/Write Word Counter
////  DWORD FreeClusters;
////  uint32_t TotalSize, FreeSpace;
////  char RW_Buffer[200];
//  do
//  {
//    //------------------[ Mount The SD Card ]--------------------
//    FR_Status = f_mount(&FatFs, SDPath, 1);
//    if (FR_Status != FR_OK)
//    {
//      printf("Error! While Mounting SD Card, Error Code: (%i)\r\n", FR_Status);
//      //USB_CDC_Print(TxBuffer);
//      break;
//    }
//    printf("SD Card Mounted Successfully! \r\n\n");
//    //USB_CDC_Print(TxBuffer);
//    //------------------[ Get & Print The SD Card Size & Free Space ]--------------------
//    f_getfree("", &FreeClusters, &FS_Ptr);
//    TotalSize = (uint32_t)((FS_Ptr->n_fatent - 2) * FS_Ptr->csize * 0.5);
//    FreeSpace = (uint32_t)(FreeClusters * FS_Ptr->csize * 0.5);
//    printf("Total SD Card Size: %lu Bytes\r\n", TotalSize);
//    //USB_CDC_Print(TxBuffer);
//    printf("Free SD Card Space: %lu Bytes\r\n\n", FreeSpace);
//    //USB_CDC_Print(TxBuffer);
//    //------------------[ Open A Text File For Write & Write Data ]--------------------
//    //Open the file
//    FR_Status = f_open(&Fil, "MyTextFile.txt", FA_WRITE | FA_READ | FA_CREATE_ALWAYS);
//    if(FR_Status != FR_OK)
//    {
//      printf("Error! While Creating/Opening A New Text File, Error Code: (%i)\r\n", FR_Status);
//      //USB_CDC_Print(TxBuffer);
//      break;
//    }
//
//    printf("Text File Created & Opened! Writing Data To The Text File..\r\n\n");
//    //USB_CDC_Print(TxBuffer);
//    // (1) Write Data To The Text File [ Using f_puts() Function ]
//    f_puts("Hello! From STM32 To SD Card Over SDMMC, Using f_puts()\n", &Fil);
//    // (2) Write Data To The Text File [ Using f_write() Function ]
//    strcpy(RW_Buffer, "Hello! From STM32 To SD Card Over SDMMC, Using f_write()\r\n");
//    f_write(&Fil, RW_Buffer, strlen(RW_Buffer), &WWC);
//    // Close The File
//    f_close(&Fil);
//    //------------------[ Open A Text File For Read & Read Its Data ]--------------------
//    // Open The File
//    FR_Status = f_open(&Fil, "MyTextFile.txt", FA_READ);
//    if(FR_Status != FR_OK)
//    {
//      printf( "Error! While Opening (MyTextFile.txt) File For Read.. \r\n");
//      //USB_CDC_Print(TxBuffer);
//      break;
//    }
//    // (1) Read The Text File's Data [ Using f_gets() Function ]
//    f_gets(RW_Buffer, sizeof(RW_Buffer), &Fil);
//    printf("Data Read From (MyTextFile.txt) Using f_gets():%s", RW_Buffer);
//    //USB_CDC_Print(TxBuffer);
//    // (2) Read The Text File's Data [ Using f_read() Function ]
//    f_read(&Fil, RW_Buffer, f_size(&Fil), &RWC);
//    printf( "Data Read From (MyTextFile.txt) Using f_read():%s", RW_Buffer);
//    //USB_CDC_Print(TxBuffer);
//    // Close The File
//    f_close(&Fil);
//    printf( "File Closed! \r\n\n");
//    //USB_CDC_Print(TxBuffer);
//    //------------------[ Open An Existing Text File, Update Its Content, Read It Back ]--------------------
//    // (1) Open The Existing File For Write (Update)
//    FR_Status = f_open(&Fil, "MyTextFile.txt", FA_OPEN_EXISTING | FA_WRITE);
//    FR_Status = f_lseek(&Fil, f_size(&Fil)); // Move The File Pointer To The EOF (End-Of-File)
//    if(FR_Status != FR_OK)
//    {
//      printf( "Error! While Opening (MyTextFile.txt) File For Update.. \r\n");
//      //USB_CDC_Print(TxBuffer);
//      break;
//    }
//    // (2) Write New Line of Text Data To The File
//    FR_Status = f_puts("This New Line Was Added During File Update!\r\n", &Fil);
//    f_close(&Fil);
//    memset(RW_Buffer,'\0',sizeof(RW_Buffer)); // Clear The Buffer
//    // (3) Read The Contents of The Text File After The Update
//    FR_Status = f_open(&Fil, "MyTextFile.txt", FA_READ); // Open The File For Read
//    f_read(&Fil, RW_Buffer, f_size(&Fil), &RWC);
//    printf( "Data Read From (MyTextFile.txt) After Update:\r\n%s", RW_Buffer);
//    //USB_CDC_Print(TxBuffer);
//    f_close(&Fil);
//    //------------------[ Delete The Text File ]--------------------
//    // Delete The File
//    /*
//    FR_Status = f_unlink(MyTextFile.txt);
//    if (FR_Status != FR_OK){
//        sprintf(TxBuffer, "Error! While Deleting The (MyTextFile.txt) File.. \r\n");
//        USC_CDC_Print(TxBuffer);
//    }
//    */
//  } while(0);
//  //------------------[ Test Complete! Unmount The SD Card ]--------------------
//  FR_Status = f_mount(NULL, "", 0);
//  if (FR_Status != FR_OK)
//  {
//      printf("\r\nError! While Un-mounting SD Card, Error Code: (%i)\r\n", FR_Status);
//      //USB_CDC_Print(TxBuffer);
//  } else{
//      printf( "\r\nSD Card Un-mounted Successfully! \r\n");
//      //USB_CDC_Print(TxBuffer);
//  }
//}
/* USER CODE END 4 */

void Error_Handler(void)
{
  /* USER CODE BEGIN Error_Handler_Debug */
	/* User can add his own implementation to report the HAL error return state */
	HAL_GPIO_WritePin(LD1_GPIO_Port, LD1_Pin, SET);
	HAL_GPIO_WritePin(LD2_GPIO_Port, LD2_Pin, RESET);
	//HAL_GPIO_WritePin(LD3_GPIO_Port, LD3_Pin, SET);
	__disable_irq();
	while (1) {
	}
  /* USER CODE END Error_Handler_Debug */
}
